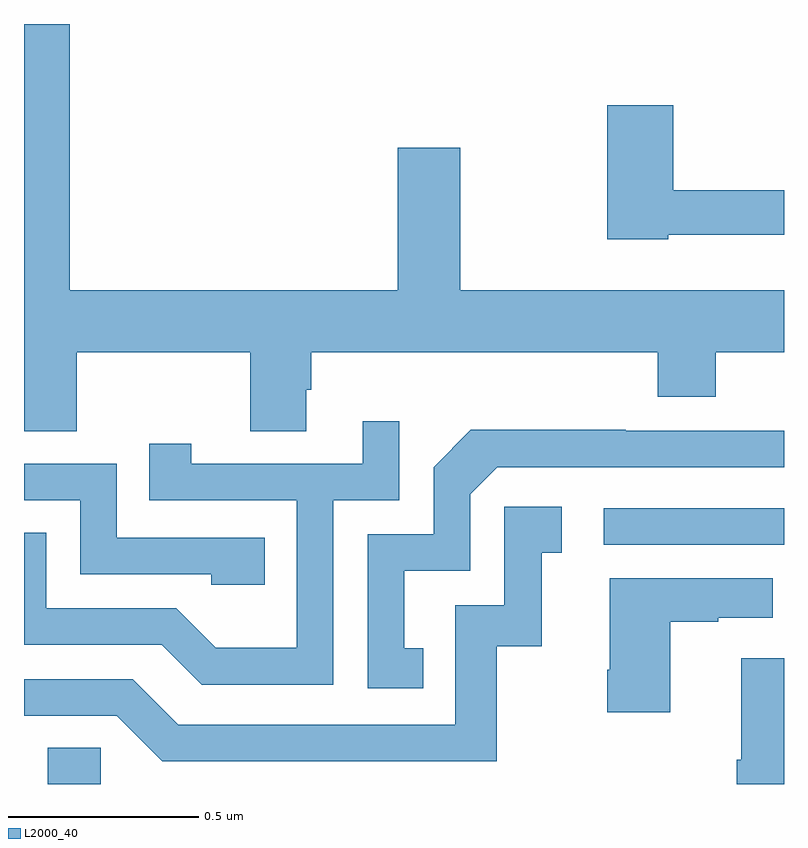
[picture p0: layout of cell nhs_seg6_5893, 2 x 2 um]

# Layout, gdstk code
import gdstk
lib = gdstk.Library(unit=1e-6, precision=1e-09)
def R(c, l, rs):  # rectangles x0, y0, x1, y1
    for r in rs: c.add(gdstk.rectangle(r[:2], r[2:], *l))
def P(c, l, *ps):  # polygons
    for p in ps: c.add(gdstk.Polygon(p, *l))
L2000_40 = (2000, 40)

nhs_seg6_5893 = lib.new_cell('nhs_seg6_5893')
R(nhs_seg6_5893, L2000_40, [(188.063,979.5,188.202,979.595), (189.525,980.13,190,980.226)])
P(nhs_seg6_5893, L2000_40, [(188.139,980.636),(188.596,980.636),(188.596,980.428),(188.743,980.428),(188.743,980.538),(188.756,980.538),(188.756,980.636),(189.668,980.636),(189.668,980.519),(189.82,980.519),(189.82,980.636),(190,980.636),(190,980.8),(189.148,980.8),(189.148,981.175),(188.984,981.175),(188.984,980.8),(188.12,980.8),(188.12,981.5),(188,981.5),(188,980.428),(188.139,980.428)],
  [(189.696,980.945),(190,980.945),(190,981.062),(189.708,981.062),(189.708,981.286),(189.535,981.286),(189.535,980.933),(189.696,980.933)],
  [(188.814,980.247),(188.988,980.247),(188.988,980.455),(188.891,980.455),(188.891,980.343),(188.44,980.343),(188.44,980.395),(188.329,980.395),(188.329,980.247),(188.718,980.247),(188.718,979.858),(188.504,979.858),(188.4,979.962),(188.058,979.962),(188.058,980.161),(188,980.161),(188,979.866),(188.363,979.866),(188.468,979.761),(188.814,979.761)],
  [(189.05,979.857),(189.001,979.857),(189.001,980.061),(189.174,980.061),(189.174,980.262),(189.246,980.334),(190,980.334),(190,980.43),(189.584,980.43),(189.584,980.432),(189.176,980.432),(189.078,980.334),(189.078,980.157),(188.904,980.157),(188.904,979.752),(189.05,979.752)],
  [(188.633,980.148),(188.244,980.148),(188.244,980.343),(188,980.343),(188,980.247),(188.148,980.247),(188.148,980.052),(188.493,980.052),(188.493,980.025),(188.633,980.025)],
  [(189.244,979.863),(189.362,979.863),(189.362,980.109),(189.415,980.109),(189.415,980.23),(189.264,980.23),(189.264,979.971),(189.135,979.971),(189.135,979.656),(188.406,979.656),(188.286,979.776),(188,979.776),(188,979.68),(188.244,979.68),(188.364,979.56),(189.244,979.56)],
  [(189.7,979.927),(189.827,979.927),(189.827,979.937),(189.97,979.937),(189.97,980.041),(189.542,980.041),(189.542,979.801),(189.535,979.801),(189.535,979.689),(189.7,979.689)],
  [(190,979.831),(189.887,979.831),(189.887,979.564),(189.875,979.564),(189.875,979.5),(190,979.5)])

lib.write_gds('nhs_seg6_5893.gds')
